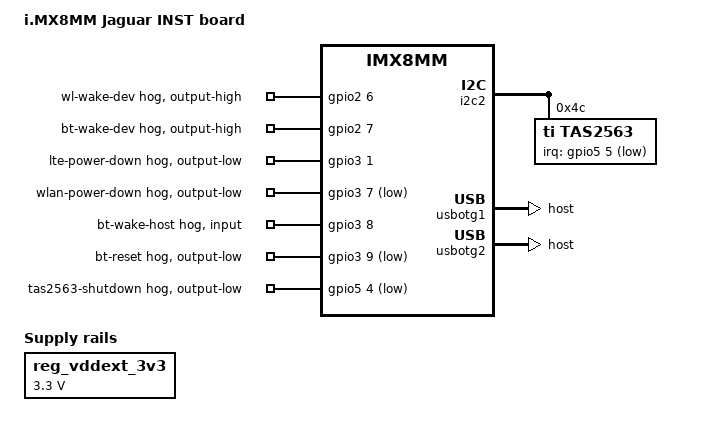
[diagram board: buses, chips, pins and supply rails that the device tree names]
// SPDX-License-Identifier: (GPL-2.0 OR MIT)
/*
 * Copyright 2020 NXP
 */

#include "freescale/imx8mm-evkb.dts"
#include <dt-bindings/gpio/gpio.h>
#include <dt-bindings/leds/common.h>

/ {
        model = "i.MX8MM Jaguar INST board";

	// Regulators
	reg_vddext_3v3: regulator-vddext {
		compatible = "regulator-fixed";
		regulator-name = "VDDEXT_3V3";
		regulator-min-microvolt = <3300000>;
		regulator-max-microvolt = <3300000>;
	};

	sound-wm8524 {
		status = "disabled";
	};

	sound-ak4458 {
		status = "disabled";
	};

	sound-spdif {
		status = "disabled";
	};

	sound-bt-sco {
		status = "disabled";
	};
};

&iomuxc {
        pinctrl-names = "default";
	pinctrl-0 = <&pinctrl_hog>;

	// TODO: Break these out better?
	pinctrl_hog: hoggrp {
		fsl,pins = <
			MX8MM_IOMUXC_SD1_DATA4_GPIO2_IO6	0x140  // WL_WAKE_DEV
			MX8MM_IOMUXC_SD1_DATA5_GPIO2_IO7	0x140  // BT_WAKE_DEV
                        MX8MM_IOMUXC_NAND_DATA01_GPIO3_IO7      0x140  // WIFI_PD#
			MX8MM_IOMUXC_NAND_DATA02_GPIO3_IO8	0x140  // BT_WAKE_HOST
                        MX8MM_IOMUXC_NAND_DATA03_GPIO3_IO9      0x140  // BT_RST#
                        MX8MM_IOMUXC_SAI1_RXD7_GPIO4_IO9        0x140  // LED_ENABLE
                        MX8MM_IOMUXC_SAI1_TXFS_GPIO4_IO10       0x140  // CODEC_IRQ#
                        MX8MM_IOMUXC_SPDIF_RX_GPIO5_IO4         0x140  // CODEC_SD#
                        MX8MM_IOMUXC_SD1_STROBE_GPIO2_IO11      0x140  // ZB_RST#
                        MX8MM_IOMUXC_SAI2_RXC_GPIO4_IO22        0x140  // ZB_INT
			MX8MM_IOMUXC_NAND_CE0_B_GPIO3_IO1	0x140  // LTE_OFF
			MX8MM_IOMUXC_SAI1_RXD4_GPIO4_IO6	0x140  // SLMB_0
		>;
	};

        pinctrl_ecspi1: ecspi1grp {
                fsl,pins = <
			MX8MM_IOMUXC_ECSPI1_SS0_GPIO5_IO9	0x13
                        MX8MM_IOMUXC_ECSPI1_SCLK_ECSPI1_SCLK	0x13
                        MX8MM_IOMUXC_ECSPI1_MISO_ECSPI1_MISO	0x13
                        MX8MM_IOMUXC_ECSPI1_MOSI_ECSPI1_MOSI	0x13
                >;
        };

        pinctrl_ecspi2: ecspi2grp {
                fsl,pins = <
			MX8MM_IOMUXC_ECSPI2_SS0_GPIO5_IO13	0x96
                        MX8MM_IOMUXC_ECSPI2_SCLK_ECSPI2_SCLK	0x96
                        MX8MM_IOMUXC_ECSPI2_MOSI_ECSPI2_MOSI	0x96
			MX8MM_IOMUXC_ECSPI2_MISO_ECSPI2_MISO	0x96
			MX8MM_IOMUXC_SAI3_RXC_GPIO4_IO29	0x96  // RADAR_IRQ
			MX8MM_IOMUXC_SAI3_RXFS_GPIO4_IO28	0x96 // RADAR_RST
                >;
        };

	pinctrl_pdm: pdmgrp {
		fsl,pins = <
			MX8MM_IOMUXC_SAI1_MCLK_PDM_CLK		0xd6
			MX8MM_IOMUXC_SAI1_RXD0_PDM_DATA0	0xd6
			MX8MM_IOMUXC_SAI1_RXD1_PDM_DATA1	0xd6
			MX8MM_IOMUXC_SAI1_RXD2_PDM_DATA2	0xd6
			MX8MM_IOMUXC_SAI1_RXD3_PDM_DATA3	0xd6
		>;
	};
};

&uart3 {
	status = "disabled";
};

&gpio2 {
	wl-wake-dev-hog {
		gpio-hog;
		gpios = <6 GPIO_ACTIVE_HIGH>;
		output-high;
		line-name = "wl-wake-dev";
	};
	bt-wake-dev-hog {
		gpio-hog;
		gpios = <7 GPIO_ACTIVE_HIGH>;
		output-high;
		line-name = "bt-wake-dev";
	};
//	zb-reset-hog {
//		gpio-hog;
//		gpios = <11 GPIO_ACTIVE_LOW>;
//		output-low;
//		line-name = "zb-reset";
//	};
};

&gpio3 {
	lte-power-down-hog {
		gpio-hog;
		gpios = <1 GPIO_ACTIVE_HIGH>;
		output-low;
		line-name = "lte-power-down";
	};

	wlan-power-down-hog {
		gpio-hog;
		gpios = <7 GPIO_ACTIVE_LOW>;
		output-low;
		line-name = "wlan-power-down";
	};
	bt-wake-host-hog {
		gpio-hog;
		gpios = <8 GPIO_ACTIVE_HIGH>;
		input;
		line-name = "bt-wake-host";
	};
	bt-reset-hog {
		gpio-hog;
		gpios = <9 GPIO_ACTIVE_LOW>;
		output-low;
		line-name = "bt-reset";
	};
};

//&gpio4 {
//       zb-int-hog {
//		gpio-hog;
//		gpios = <22 GPIO_ACTIVE_HIGH>;
//		input;
//		line-name = "zb-int";
//       };
//};

&gpio5 {
       audio-shutdown-hog {
		gpio-hog;
		gpios = <4 GPIO_ACTIVE_LOW>;
		output-low;
		line-name = "tas2563-shutdown";
       };
};

&fec1 {
        status = "disabled";
};

&i2c2 {
        ptn5110: tcpc@50 {
                status = "disabled";
	};

	// Audio Amp
        tas2563: tas2563@4C {
                #sound-dai-cells = <0>;
                compatible = "ti,tas2563";
                reg = <0x4C>;
                ti,channels = <1>; /* channel number */
//              ti,reset-gpio = <&gpio5 4 GPIO_ACTIVE_HIGH>;
                ti,irq-gpio = <&gpio5 5 GPIO_ACTIVE_LOW>;
                ti,asi-format = <0>; /* 0, i2S; 1, DSP;  */
                ti,left-slot = <0>; /* <left slot number> */
                ti,right-slot = <1>; /* <right slot number> */
                ti,imon-slot-no = <0>; /* <current sense slot number> */
                ti,vmon-slot-no = <2>; /* <current voltage slot number> */
                ti,echo-ref = <2>;
                ti,bypass-tmax = <1>; /* 0, not bypass; 1, bypass */
                ti,i2s-bits = <32>;
                status = "okay";
        };
};

&i2c3 {
	ov5640_mipi: ov5640_mipi@3c {
		status = "disabled";
	};

	pca6416: gpio@20 {
		status = "disabled";
	};

        ak4458_1: ak4458@10 {
		status = "disabled";
	};

        ak4458_2: ak4458@12 {
		status = "disabled";
	};

        ak5558: ak5558@13 {
		status = "disabled";
	};

        ak4497: ak4497@11 {
		status = "disabled";
	};
};

&sai1 {
	status = "disabled";
};

&mipi_dsi {
       status = "disabled";
};

&spdif1 {
       status = "disabled";
};

&flexspi {
	status = "disabled";
};

// USB-C port
&usbotg1 {
	dr_mode = "host";
        /delete-property/ usb-role-switch;
        status = "okay";
};

// Cellular modem
&usbotg2 {
	dr_mode = "host";
        status = "okay";
};
